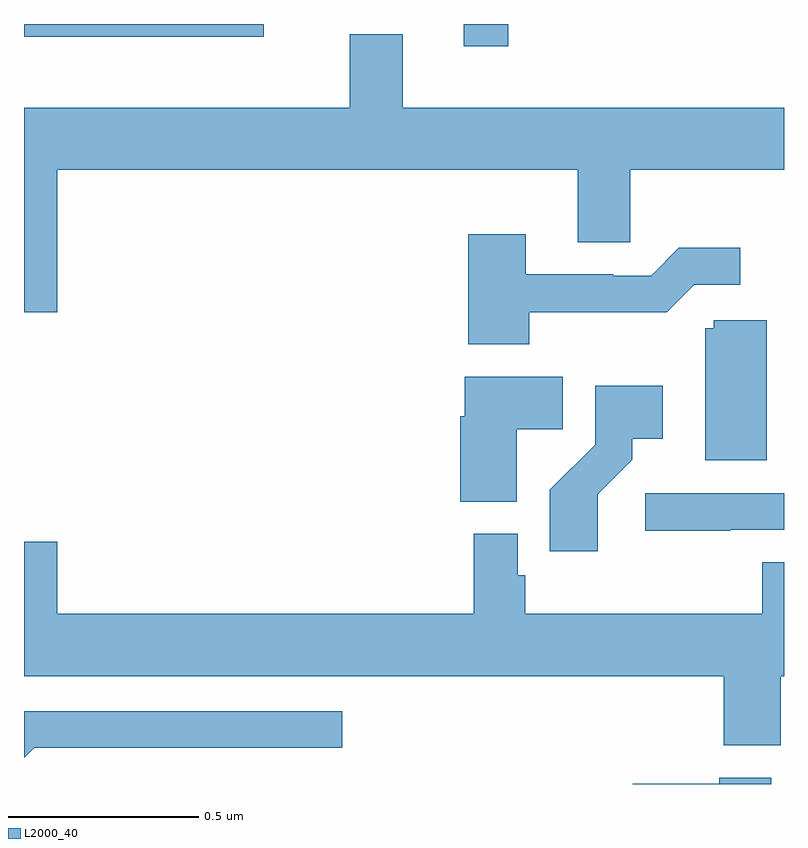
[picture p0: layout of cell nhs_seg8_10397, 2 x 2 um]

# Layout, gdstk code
import gdstk
lib = gdstk.Library(unit=1e-6, precision=1e-09)
def R(c, l, rs):  # rectangles x0, y0, x1, y1
    for r in rs: c.add(gdstk.rectangle(r[:2], r[2:], *l))
def P(c, l, *ps):  # polygons
    for p in ps: c.add(gdstk.Polygon(p, *l))
L2000_40 = (2000, 40)

nhs_seg8_10397 = lib.new_cell('nhs_seg8_10397')
R(nhs_seg8_10397, L2000_40, [(250.157,1100.841,250.274,1100.9), (249,1100.867,249.631,1100.9)])
P(nhs_seg8_10397, L2000_40, [(249.088,1100.516),(250.457,1100.516),(250.457,1100.326),(250.596,1100.326),(250.596,1100.516),(251,1100.516),(251,1100.68),(249.997,1100.68),(249.997,1100.873),(249.857,1100.873),(249.857,1100.68),(249,1100.68),(249,1100.142),(249.088,1100.142)],
  [(250.329,1100.142),(250.592,1100.142),(250.592,1100.141),(250.691,1100.141),(250.764,1100.214),(250.885,1100.214),(250.885,1100.311),(250.723,1100.311),(250.65,1100.238),(250.55,1100.238),(250.55,1100.241),(250.321,1100.241),(250.321,1100.347),(250.169,1100.347),(250.169,1100.057),(250.329,1100.057)],
  [(250.954,1100.121),(250.815,1100.121),(250.815,1100.1),(250.793,1100.1),(250.793,1099.752),(250.954,1099.752)],
  [(250.297,1099.834),(250.418,1099.834),(250.418,1099.972),(250.16,1099.972),(250.16,1099.868),(250.148,1099.868),(250.148,1099.643),(250.297,1099.643)],
  [(250.51,1099.663),(250.6,1099.753),(250.6,1099.808),(250.681,1099.808),(250.681,1099.948),(250.503,1099.948),(250.503,1099.793),(250.384,1099.674),(250.384,1099.512),(250.51,1099.512)],
  [(250.859,1099.569),(251,1099.569),(251,1099.665),(250.635,1099.665),(250.635,1099.567),(250.859,1099.567)],
  [(250.991,1099.184),(251,1099.184),(251,1099.484),(250.943,1099.484),(250.943,1099.348),(250.319,1099.348),(250.319,1099.449),(250.299,1099.449),(250.299,1099.558),(250.183,1099.558),(250.183,1099.348),(249.088,1099.348),(249.088,1099.537),(249,1099.537),(249,1099.184),(250.841,1099.184),(250.841,1099.002),(250.991,1099.002)],
  [(249.027,1098.996),(249.838,1098.996),(249.838,1099.092),(249,1099.092),(249,1098.969)],
  [(250.966,1098.916),(250.83,1098.916),(250.83,1098.901),(250.602,1098.901),(250.602,1098.9),(250.966,1098.9)])

lib.write_gds('nhs_seg8_10397.gds')
